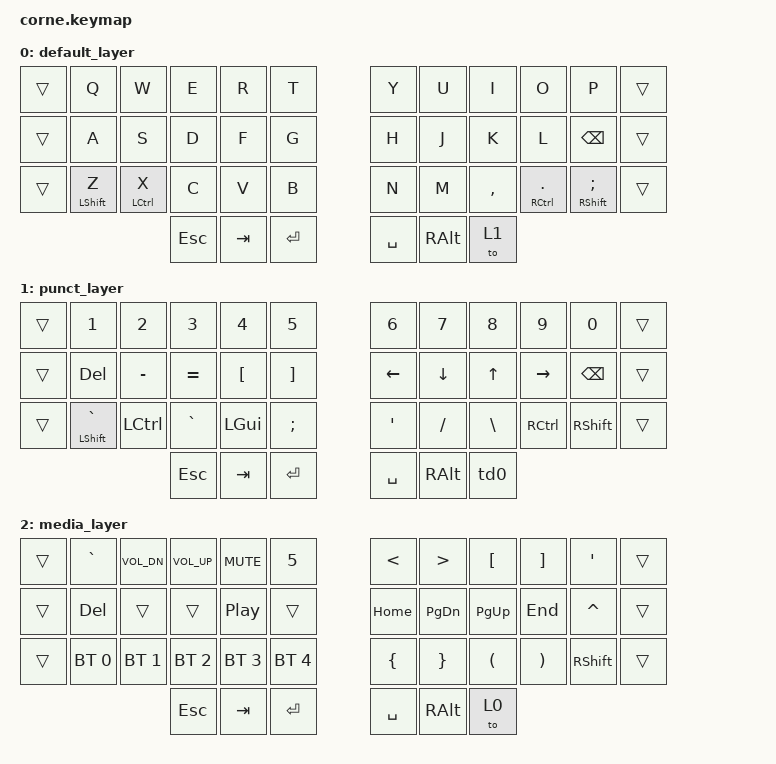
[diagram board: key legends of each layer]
#include <behaviors.dtsi>
#include <dt-bindings/zmk/bt.h>
#include <dt-bindings/zmk/keys.h>

/{
    behaviors {
        hm_fast: fast_mods {
            compatible = "zmk,behavior-hold-tap";
            label = "fast_mods";
            #binding-cells = <2>;
            tapping-term-ms = <200>;
            quick-tap-ms = <0>;
            flavor = "tap-preferred";
            bindings = <&kp>, <&kp>;
        };
        hm_slow: slow_mods {
            compatible = "zmk,behavior-hold-tap";
            label = "slow_mods";
            #binding-cells = <2>;
            tapping-term-ms = <250>;
            quick-tap-ms = <0>;
            flavor = "tap-preferred";
            bindings = <&kp>, <&kp>;
        };
        td0: tap_dance_0 {
            compatible = "zmk,behavior-tap-dance";
            label = "TAP_DANCE_0";
            #binding-cells = <0>;
            tapping-term-ms = <200>;
            bindings = <&to 0>, <&to 2>;
        };
    };

    keymap {
        compatible = "zmk,keymap";

        default_layer {
            bindings = <
&trans  &kp Q                  &kp W                    &kp E   &kp R                &kp T      &kp Y         &kp U         &kp I     &kp O                    &kp P                     &trans
&trans  &kp A                  &kp S                    &kp D   &kp F                &kp G      &kp H         &kp J         &kp K     &kp L                    &kp BACKSPACE             &trans
&trans  &hm_fast LEFT_SHIFT Z  &hm_slow LEFT_CONTROL X  &kp C   &kp V                &kp B      &kp N         &kp M         &kp COMMA &hm_slow RIGHT_CONTROL PERIOD &hm_fast RIGHT_SHIFT SEMICOLON &trans
                               &kp ESCAPE               &kp TAB &kp ENTER            &kp SPACE  &kp RIGHT_ALT &to 1
            >;
        };

        punct_layer {
            bindings = <
&trans  &kp NUMBER_1         &kp NUMBER_2     &kp NUMBER_3 &kp NUMBER_4      &kp NUMBER_5      &kp NUMBER_6   &kp NUMBER_7  &kp NUMBER_8   &kp NUMBER_9      &kp NUMBER_0    &trans
&trans  &kp DELETE           &kp MINUS        &kp EQUAL     &kp LEFT_BRACKET  &kp RIGHT_BRACKET &kp LEFT       &kp DOWN      &kp UP         &kp RIGHT         &kp BACKSPACE   &trans
&trans  &hm_fast LEFT_SHIFT GRAVE &kp LEFT_CONTROL &kp GRAVE    &kp LEFT_GUI      &kp SEMICOLON     &kp APOSTROPHE &kp SLASH     &kp BACKSLASH  &kp RIGHT_CONTROL &kp RIGHT_SHIFT &trans
                                              &kp ESCAPE      &kp TAB        &kp ENTER         &kp SPACE      &kp RIGHT_ALT &td0
            >;
        };

        media_layer {
            bindings = <
&trans  &kp GRAVE    &kp C_VOL_DN  &kp C_VOL_UP  &kp C_MUTE        &kp NUMBER_5   &kp LESS_THAN   &kp GREATER_THAN &kp LEFT_BRACKET     &kp RIGHT_BRACKET     &kp APOSTROPHE  &trans
&trans  &kp DELETE   &trans        &trans        &kp C_PLAY_PAUSE  &trans         &kp HOME        &kp PAGE_DOWN    &kp PAGE_UP          &kp END               &kp CARET       &trans
&trans  &bt BT_SEL 0 &bt BT_SEL 1  &bt BT_SEL 2  &bt BT_SEL 3      &bt BT_SEL 4   &kp LEFT_BRACE  &kp RIGHT_BRACE  &kp LEFT_PARENTHESIS &kp RIGHT_PARENTHESIS &kp RIGHT_SHIFT &trans
                                                 &kp ESCAPE           &kp TAB     &kp ENTER       &kp SPACE        &kp RIGHT_ALT        &to 0
            >;
        };

    };
};

